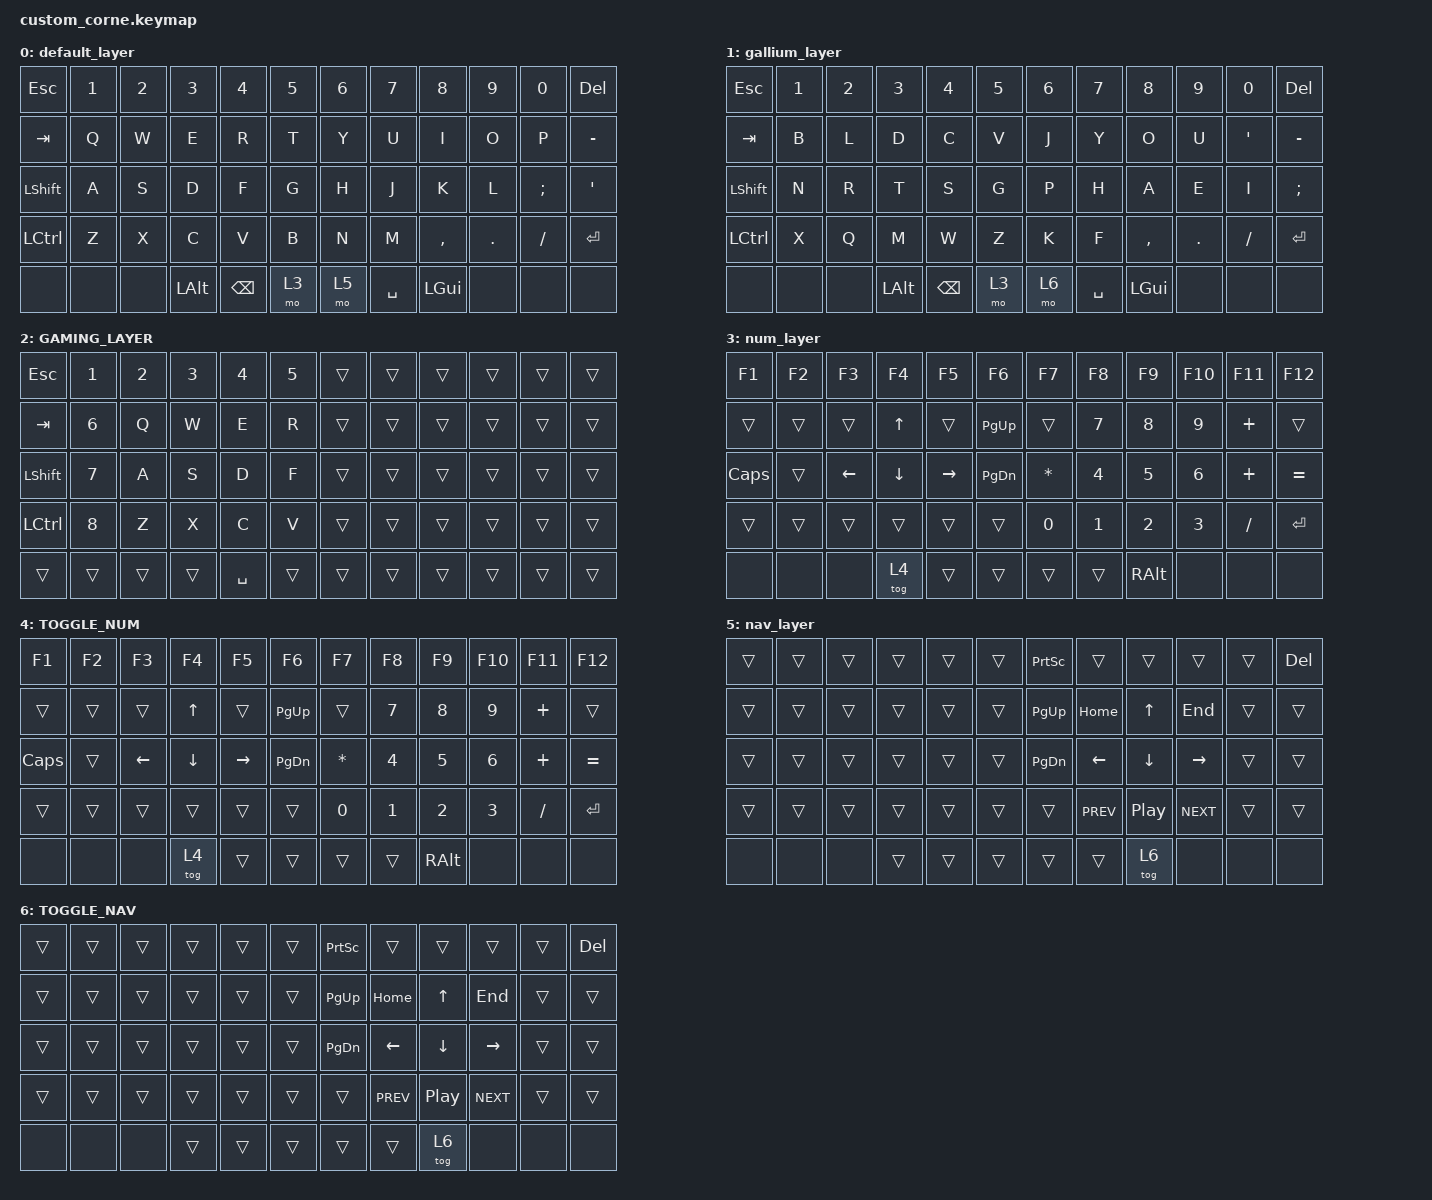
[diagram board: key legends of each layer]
#include <behaviors.dtsi>
#include <dt-bindings/zmk/keys.h>

/ {
    combos {
        compatible = "zmk,combos";

        gaming_toggle {
            bindings = <&tog 2>;
            key-positions = <53 5 0>;
        };

        Gallium_toggle {
            bindings = <&tog 1>;
            key-positions = <54 6 11>;
        };
    };

    keymap {
        compatible = "zmk,keymap";

        default_layer {
            // -----------------------------------------------------------------------------------------
            // | ESC |  1  |  2  |  3  |  4  |  5  |   |  6  |  7  |  8  |  9  |  0  | DEL |
            // | TAB |  Q  |  W  |  E  |  R  |  T  |   |  Y  |  U  |  I  |  O  |  P  |  \  |
            // | SHFT|  A  |  S  |  D  |  F  |  G  |   |  H  |  J  |  K  |  L  |  ;  |  '  |
            // | CTRL|  Z  |  X  |  C  |  V  |  B  |   |  N  |  M  |  ,  |  .  |  /  | ENT |
            //                    | ALT | BSPC| NUM |   | NAV | SPC | WIN|

            bindings = <
&kp ESC    &kp N1  &kp N2  &kp N3    &kp N4    &kp N5  &kp N6  &kp N7     &kp N8     &kp N9   &kp N0    &kp DEL
&kp TAB    &kp Q   &kp W   &kp E     &kp R     &kp T   &kp Y   &kp U      &kp I      &kp O    &kp P     &kp MINUS
&kp LSHFT  &kp A   &kp S   &kp D     &kp F     &kp G   &kp H   &kp J      &kp K      &kp L    &kp SEMI  &kp SQT
&kp LCTRL  &kp Z   &kp X   &kp C     &kp V     &kp B   &kp N   &kp M      &kp COMMA  &kp DOT  &kp FSLH  &kp RET
&none      &none   &none   &kp LALT  &kp BSPC  &mo 3   &mo 5   &kp SPACE  &kp LGUI   &none    &none     &none
            >;
        };

        gallium_layer {
            // -----------------------------------------------------------------------------------------
            // | ESC |  1  |  2  |  3  |  4  |  5  |   |  6  |  7  |  8  |  9  |  0  | DEL |
            // | TAB |  B  |  L  |  D  |  C  |  V  |   |  J  |  Y  |  O  |  U  |  '  |  \  |
            // | SHFT|  N  |  R  |  T  |  S  |  G  |   |  P  |  H  |  A  |  E  |  I  |  ;  |
            // | CTRL|  X  |  Q  |  M  |  W  |  Z  |   |  K  |  F  |  ,  |  .  |  /  | ENT |
            //                   | ALT | BSPC| NUM |   | NAV | SPC | WIN|

            bindings = <
&kp ESC    &kp N1  &kp N2  &kp N3    &kp N4    &kp N5  &kp N6  &kp N7     &kp N8     &kp N9   &kp N0    &kp DEL
&kp TAB    &kp B   &kp L   &kp D     &kp C     &kp V   &kp J   &kp Y      &kp O      &kp U    &kp SQT   &kp MINUS
&kp LSHFT  &kp N   &kp R   &kp T     &kp S     &kp G   &kp P   &kp H      &kp A      &kp E    &kp I     &kp SEMI
&kp LCTRL  &kp X   &kp Q   &kp M     &kp W     &kp Z   &kp K   &kp F      &kp COMMA  &kp DOT  &kp FSLH  &kp RET
&none      &none   &none   &kp LALT  &kp BSPC  &mo 3   &mo 6   &kp SPACE  &kp LGUI   &none    &none     &none
            >;
        };

        GAMING_LAYER {
            bindings = <
&kp ESC    &kp N1  &kp N2  &kp N3  &kp N4     &kp N5  &trans  &trans  &trans  &trans  &trans  &trans
&kp TAB    &kp N6  &kp Q   &kp W   &kp E      &kp R   &trans  &trans  &trans  &trans  &trans  &trans
&kp LSHFT  &kp N7  &kp A   &kp S   &kp D      &kp F   &trans  &trans  &trans  &trans  &trans  &trans
&kp LCTRL  &kp N8  &kp Z   &kp X   &kp C      &kp V   &trans  &trans  &trans  &trans  &trans  &trans
&trans     &trans  &trans  &trans  &kp SPACE  &trans  &trans  &trans  &trans  &trans  &trans  &trans
            >;
        };

        num_layer {
            // -----------------------------------------------------------------------------------------
            // |  F1 |  F2 |  F3 |  F4 |  F5 |  F6 |   |  F7 |  F8 |  F9 | F10 | F11 | F12 |
            // |     |     |     |     |     |     |   |  /  |  7  |  8  |  9  |  -  |     |
            // |     |     |     |     |     |     |   |  * |  4  |  5  |  6  |  +  |     |
            // |     |     |     |     |     |     |   |  0  |  1  |  2  |  3  |  .  | ENT |
            //                   | GAL |     | NAV |   | QWER|     |     |

            bindings = <
&kp F1        &kp F2  &kp F3    &kp F4        &kp F5     &kp F6         &kp F7        &kp F8  &kp F9         &kp F10  &kp F11    &kp F12
&trans        &trans  &trans    &kp UP_ARROW  &trans     &kp PAGE_UP    &trans        &kp N7  &kp N8         &kp N9   &kp PLUS   &trans
&kp CAPSLOCK  &trans  &kp LEFT  &kp DOWN      &kp RIGHT  &kp PAGE_DOWN  &kp ASTERISK  &kp N4  &kp N5         &kp N6   &kp PLUS   &kp EQUAL
&trans        &trans  &trans    &trans        &trans     &trans         &kp N0        &kp N1  &kp N2         &kp N3   &kp SLASH  &kp RET
&none         &none   &none     &tog 4        &trans     &trans         &trans        &trans  &kp RIGHT_ALT  &none    &none      &none
            >;
        };

        TOGGLE_NUM {
            bindings = <
&kp F1        &kp F2  &kp F3    &kp F4        &kp F5     &kp F6         &kp F7        &kp F8  &kp F9         &kp F10  &kp F11    &kp F12
&trans        &trans  &trans    &kp UP_ARROW  &trans     &kp PAGE_UP    &trans        &kp N7  &kp N8         &kp N9   &kp PLUS   &trans
&kp CAPSLOCK  &trans  &kp LEFT  &kp DOWN      &kp RIGHT  &kp PAGE_DOWN  &kp ASTERISK  &kp N4  &kp N5         &kp N6   &kp PLUS   &kp EQUAL
&trans        &trans  &trans    &trans        &trans     &trans         &kp N0        &kp N1  &kp N2         &kp N3   &kp SLASH  &kp RET
&none         &none   &none     &tog 4        &trans     &trans         &trans        &trans  &kp RIGHT_ALT  &none    &none      &none
            >;
        };

        nav_layer {
            // -----------------------------------------------------------------------------------------
            // |      |     |     |     |     |     |   |     |     |     |     |     | DEL |
            // |      |     |     |     |     |     |   |     |     |  UP |     |     |     |
            // |      |     |     |     |     |     |   |     | LF  |  DN | RT  |     |     |
            // |      |     |     |     |     |     |   |     |     |     |     |     |     |
            //                    | GAL |     | QWER|   | NUM |     |     |

            bindings = <
&trans  &trans  &trans  &trans  &trans  &trans  &kp PRINTSCREEN  &trans      &trans    &trans      &trans  &kp DEL
&trans  &trans  &trans  &trans  &trans  &trans  &kp PAGE_UP      &kp HOME    &kp UP    &kp END     &trans  &trans
&trans  &trans  &trans  &trans  &trans  &trans  &kp PAGE_DOWN    &kp LEFT    &kp DOWN  &kp RIGHT   &trans  &trans
&trans  &trans  &trans  &trans  &trans  &trans  &trans           &kp C_PREV  &kp C_PP  &kp C_NEXT  &trans  &trans
&none   &none   &none   &trans  &trans  &trans  &trans           &trans      &tog 6    &none       &none   &none
            >;
        };

        TOGGLE_NAV {
            bindings = <
&trans  &trans  &trans  &trans  &trans  &trans  &kp PRINTSCREEN  &trans      &trans    &trans      &trans  &kp DEL
&trans  &trans  &trans  &trans  &trans  &trans  &kp PAGE_UP      &kp HOME    &kp UP    &kp END     &trans  &trans
&trans  &trans  &trans  &trans  &trans  &trans  &kp PAGE_DOWN    &kp LEFT    &kp DOWN  &kp RIGHT   &trans  &trans
&trans  &trans  &trans  &trans  &trans  &trans  &trans           &kp C_PREV  &kp C_PP  &kp C_NEXT  &trans  &trans
&none   &none   &none   &trans  &trans  &trans  &trans           &trans      &tog 6    &none       &none   &none
            >;
        };
    };
};
